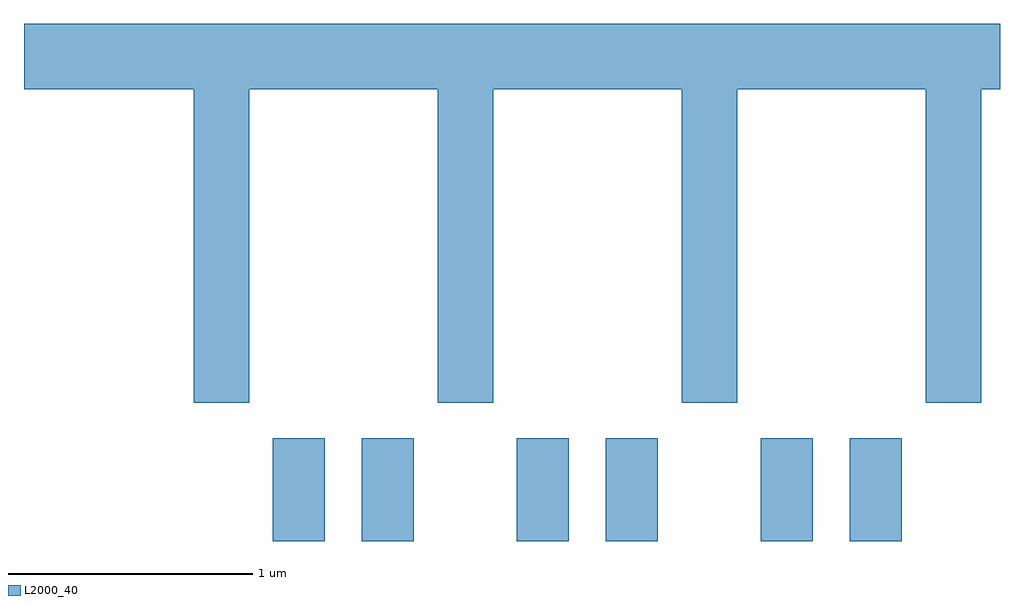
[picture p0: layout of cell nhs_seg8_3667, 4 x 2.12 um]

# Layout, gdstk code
import gdstk
lib = gdstk.Library(unit=1e-6, precision=1e-09)
def R(c, l, rs):  # rectangles x0, y0, x1, y1
    for r in rs: c.add(gdstk.rectangle(r[:2], r[2:], *l))
def P(c, l, *ps):  # polygons
    for p in ps: c.add(gdstk.Polygon(p, *l))
L2000_40 = (2000, 40)

nhs_seg8_3667 = lib.new_cell('nhs_seg8_3667')
R(nhs_seg8_3667, L2000_40, [(296.631,1832.342,296.844,1832.764), (296.996,1832.342,297.209,1832.764), (297.631,1832.342,297.844,1832.764), (297.996,1832.342,298.209,1832.764), (298.631,1832.342,298.844,1832.764), (298.996,1832.342,299.209,1832.764)])
P(nhs_seg8_3667, L2000_40, [(296.534,1834.196),(297.306,1834.196),(297.306,1832.911),(297.534,1832.911),(297.534,1834.196),(298.306,1834.196),(298.306,1832.911),(298.534,1832.911),(298.534,1834.196),(299.306,1834.196),(299.306,1832.911),(299.534,1832.911),(299.534,1834.196),(299.611,1834.196),(299.611,1834.464),(295.611,1834.464),(295.611,1834.196),(296.306,1834.196),(296.306,1832.911),(296.534,1832.911)])

lib.write_gds('nhs_seg8_3667.gds')
